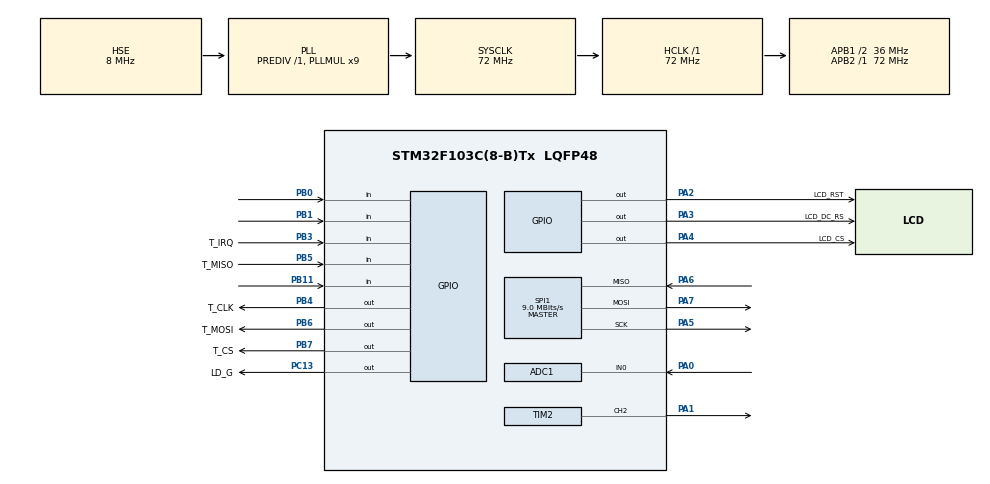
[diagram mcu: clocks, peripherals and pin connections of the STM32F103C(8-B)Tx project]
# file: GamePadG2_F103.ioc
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ADC1.Channel-1\#ChannelRegularConversion=ADC_CHANNEL_0
ADC1.NbrOfConversion=1
ADC1.NbrOfConversionFlag=1
ADC1.Rank-1\#ChannelRegularConversion=1
ADC1.SamplingTime-1\#ChannelRegularConversion=ADC_SAMPLETIME_1CYCLE_5
ADC1.master=1
Mcu.Family=STM32F1
Mcu.Name=STM32F103C(8-B)Tx
Mcu.Package=LQFP48
NVIC.PriorityGroup=NVIC_PRIORITYGROUP_4
PA0-WKUP.Signal=ADCx_IN0
PA1.Signal=S_TIM2_CH2
PA13.Mode=Serial_Wire
PA13.Signal=SYS_JTMS-SWDIO
PA14.Mode=Serial_Wire
PA14.Signal=SYS_JTCK-SWCLK
PA2.GPIO_Label=LCD_RST
PA2.GPIO_ModeDefaultOutputPP=GPIO_MODE_OUTPUT_PP
PA2.GPIO_Speed=GPIO_SPEED_FREQ_HIGH
PA2.Signal=GPIO_Output
PA3.GPIO_Label=LCD_DC_RS
PA3.GPIO_ModeDefaultOutputPP=GPIO_MODE_OUTPUT_PP
PA3.GPIO_Speed=GPIO_SPEED_FREQ_HIGH
PA3.Signal=GPIO_Output
PA4.GPIO_Label=LCD_CS
PA4.GPIO_Speed=GPIO_SPEED_FREQ_HIGH
PA4.PinState=GPIO_PIN_RESET
PA4.Signal=GPIO_Output
PA5.Mode=Full_Duplex_Master
PA5.Signal=SPI1_SCK
PA6.Mode=Full_Duplex_Master
PA6.Signal=SPI1_MISO
PA7.Mode=Full_Duplex_Master
PA7.Signal=SPI1_MOSI
PB0.Signal=GPIO_Input
PB1.Signal=GPIO_Input
PB11.Signal=GPIO_Input
PB3.GPIO_Label=T_IRQ
PB3.Signal=GPIO_Input
PB4.GPIO_Label=T_CLK
PB4.Signal=GPIO_Output
PB5.GPIO_Label=T_MISO
PB5.Signal=GPIO_Input
PB6.GPIO_Label=T_MOSI
PB6.Signal=GPIO_Output
PB7.GPIO_Label=T_CS
PB7.Signal=GPIO_Output
PC13-TAMPER-RTC.GPIO_Label=LD_G
PC13-TAMPER-RTC.GPIO_Speed=GPIO_SPEED_FREQ_HIGH
PC13-TAMPER-RTC.PinState=GPIO_PIN_RESET
PC13-TAMPER-RTC.Signal=GPIO_Output
PD0-OSC_IN.Mode=HSE-External-Oscillator
PD0-OSC_IN.Signal=RCC_OSC_IN
PD1-OSC_OUT.Mode=HSE-External-Oscillator
PD1-OSC_OUT.Signal=RCC_OSC_OUT
ProjectManager.HeapSize=0x200
ProjectManager.StackSize=0x400
ProjectManager.TargetToolchain=MDK-ARM V5.32
RCC.ADCPresc=RCC_ADCPCLK2_DIV6
RCC.AHBFreq_Value=72000000
RCC.APB1CLKDivider=RCC_HCLK_DIV2
RCC.APB1Freq_Value=36000000
RCC.APB1TimFreq_Value=72000000
RCC.APB2Freq_Value=72000000
RCC.APB2TimFreq_Value=72000000
RCC.HCLKFreq_Value=72000000
RCC.PLLMUL=RCC_PLL_MUL9
RCC.PLLSourceVirtual=RCC_PLLSOURCE_HSE
RCC.SYSCLKFreq_VALUE=72000000
RCC.SYSCLKSource=RCC_SYSCLKSOURCE_PLLCLK
RCC.USBFreq_Value=72000000
SH.ADCx_IN0.0=ADC1_IN0,IN0
SH.S_TIM2_CH2.0=TIM2_CH2,PWM Generation2 CH2
SPI1.BaudRatePrescaler=SPI_BAUDRATEPRESCALER_8
SPI1.CalculateBaudRate=9.0 MBits/s
SPI1.Direction=SPI_DIRECTION_2LINES
SPI1.Mode=SPI_MODE_MASTER
SPI1.VirtualType=VM_MASTER
TIM1.Prescaler=10000
TIM2.Channel-PWM\ Generation2\ CH2=TIM_CHANNEL_2
TIM2.Period=100
TIM2.Pulse-PWM\ Generation2\ CH2=80
VP_TIM1_VS_ClockSourceINT.Mode=Internal
board=custom

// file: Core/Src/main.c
/* USER CODE BEGIN Header */
/**
  ******************************************************************************
  * @file           : main.c
  * @brief          : Main program body
  ******************************************************************************
  * @attention
  *
  * Copyright (c) 2023 STMicroelectronics.
  * All rights reserved.
  *
  * This software is licensed under terms that can be found in the LICENSE file
  * in the root directory of this software component.
  * If no LICENSE file comes with this software, it is provided AS-IS.
  *
  ******************************************************************************
  */
/* USER CODE END Header */
#include "main.h"
#include "adc.h"
#include "spi.h"
#include "tim.h"
#include "gpio.h"

/* USER CODE BEGIN Includes */
/* vim: set ai et ts=4 sw=4: */
#include <string.h>
#include <stdarg.h>
#include ".\ILI9341\ILI9341_Touchscreen.h"

#include ".\ILI9341\ILI9341_STM32_Driver.h"
#include ".\ILI9341\ILI9341_GFX.h"
		void make_rect(s,c,w,h){
			for(int x=0;x<=s;){
			  for(int y=0;y<=c;){
				ILI9341_Draw_Pixel(x+w,y+h ,RED);
				y++;
				}
				x++;
			}
		}
//#include ".\ILI9341\snow_tiger.h"
/* USER CODE END Includes */

/* USER CODE BEGIN PV */
/* Private variables ---------------------------------------------------------*/

/* USER CODE END PV */

void SystemClock_Config(void);
/* USER CODE BEGIN PFP */
/* Private function prototypes -----------------------------------------------*/

/* USER CODE END PFP */

/* USER CODE BEGIN 0 */

//void UART_Printf(const char* fmt, ...) {
////    char buff[256];
////    va_list args;
////    va_start(args, fmt);
////    vsnprintf(buff, sizeof(buff), fmt, args);
////    HAL_UART_Transmit(&huart2, (uint8_t*)buff, strlen(buff),
////                      HAL_MAX_DELAY);
////    va_end(args);
//}

//void init() {
//    ILI9341_Unselect();
//    ILI9341_TouchUnselect();
//    ILI9341_Init();
//}

//void loop() {
//    if(HAL_SPI_DeInit(&hspi1) != HAL_OK) {
//        //UART_Printf("HAL_SPI_DeInit failed!\r\n");
//        return;
//    }

//    hspi1.Init.BaudRatePrescaler = SPI_BAUDRATEPRESCALER_2;

//    if(HAL_SPI_Init(&hspi1) != HAL_OK) {
//        //UART_Printf("HAL_SPI_Init failed!\r\n");
//        return;
//    }

//    // Check border
//    ILI9341_FillScreen(ILI9341_BLACK);

//    for(int x = 0; x < ILI9341_WIDTH; x++) {
//        ILI9341_DrawPixel(x, 0, ILI9341_RED);
//        ILI9341_DrawPixel(x, ILI9341_HEIGHT-1, ILI9341_RED);
//    }

//    for(int y = 0; y < ILI9341_HEIGHT; y++) {
//        ILI9341_DrawPixel(0, y, ILI9341_RED);
//        ILI9341_DrawPixel(ILI9341_WIDTH-1, y, ILI9341_RED);
//    }

//    HAL_Delay(3000);

//    // Check fonts
//    ILI9341_FillScreen(ILI9341_BLACK);
//    ILI9341_WriteString(0, 0, "Font_7x10, red on black, lorem ipsum dolor sit amet", Font_7x10, ILI9341_RED, ILI9341_BLACK);
//    ILI9341_WriteString(0, 3*10, "Font_11x18, green, lorem ipsum dolor sit amet", Font_11x18, ILI9341_GREEN, ILI9341_BLACK);
//    ILI9341_WriteString(0, 3*10+3*18, "Font_16x26, blue, lorem ipsum dolor sit amet", Font_16x26, ILI9341_BLUE, ILI9341_BLACK);

//    HAL_Delay(1000);
//    ILI9341_InvertColors(true);
//    HAL_Delay(1000);
//    ILI9341_InvertColors(false);

//    HAL_Delay(5000);

//    // Check colors
//    ILI9341_FillScreen(ILI9341_WHITE);
//    ILI9341_WriteString(0, 0, "WHITE", Font_11x18, ILI9341_BLACK, ILI9341_WHITE);
//    HAL_Delay(500);

//    ILI9341_FillScreen(ILI9341_BLUE);
//    ILI9341_WriteString(0, 0, "BLUE", Font_11x18, ILI9341_BLACK, ILI9341_BLUE);
//    HAL_Delay(500);

//    ILI9341_FillScreen(ILI9341_RED);
//    ILI9341_WriteString(0, 0, "RED", Font_11x18, ILI9341_BLACK, ILI9341_RED);
//    HAL_Delay(500);

//    ILI9341_FillScreen(ILI9341_GREEN);
//    ILI9341_WriteString(0, 0, "GREEN", Font_11x18, ILI9341_BLACK, ILI9341_GREEN);
//    HAL_Delay(500);

//    ILI9341_FillScreen(ILI9341_CYAN);
//    ILI9341_WriteString(0, 0, "CYAN", Font_11x18, ILI9341_BLACK, ILI9341_CYAN);
//    HAL_Delay(500);

//    ILI9341_FillScreen(ILI9341_MAGENTA);
//    ILI9341_WriteString(0, 0, "MAGENTA", Font_11x18, ILI9341_BLACK, ILI9341_MAGENTA);
//    HAL_Delay(500);

//    ILI9341_FillScreen(ILI9341_YELLOW);
//    ILI9341_WriteString(0, 0, "YELLOW", Font_11x18, ILI9341_BLACK, ILI9341_YELLOW);
//    HAL_Delay(500);

//    ILI9341_FillScreen(ILI9341_BLACK);
//    ILI9341_WriteString(0, 0, "BLACK", Font_11x18, ILI9341_WHITE, ILI9341_BLACK);
//    HAL_Delay(500);

//    //ILI9341_DrawImage((ILI9341_WIDTH - 240) / 2, (ILI9341_HEIGHT - 240) / 2, 240, 240, (const uint16_t*)test_img_240x240);

//    HAL_Delay(3000);

//    ILI9341_FillScreen(ILI9341_BLACK);
//    ILI9341_WriteString(0, 0, "Touchpad test.  Draw something!", Font_11x18, ILI9341_WHITE, ILI9341_BLACK);
//    HAL_Delay(1000);
//    ILI9341_FillScreen(ILI9341_BLACK);

//    if(HAL_SPI_DeInit(&hspi1) != HAL_OK) {
//        //UART_Printf("HAL_SPI_DeInit failed!\r\n");
//        return;
//    }

//    hspi1.Init.BaudRatePrescaler = SPI_BAUDRATEPRESCALER_128;

//    if(HAL_SPI_Init(&hspi1) != HAL_OK) {
//        //UART_Printf("HAL_SPI_Init failed!\r\n");
//        return;
//    }

//    int npoints = 0;
//    while(npoints < 10000) {
//        uint16_t x, y;

//        if(ILI9341_TouchGetCoordinates(&x, &y)) {
//            ILI9341_DrawPixel(x, 320-y, ILI9341_WHITE);
//            npoints++;
//        }
//    }
//}

/* USER CODE END 0 */

int main(void)
{
  /* USER CODE BEGIN 1 */
	int random_number = 0;

  /* USER CODE END 1 */

  /* MCU Configuration--------------------------------------------------------*/

  /* Reset of all peripherals, Initializes the Flash interface and the Systick. */
  HAL_Init();

  /* Configure the system clock */
  SystemClock_Config();

  /* Initialize all configured peripherals */
  MX_GPIO_Init();
  MX_SPI1_Init();
  MX_TIM2_Init();
  MX_TIM1_Init();
  MX_ADC1_Init();

  /* Infinite loop */
  /* USER CODE BEGIN WHILE */
	HAL_TIM_PWM_Start(&htim2, TIM_CHANNEL_2);
	HAL_ADC_Start(&hadc1);

	ILI9341_Init();//initial driver setup to drive ili9341
  ILI9341_Set_Rotation(SCREEN_VERTICAL_1);
	ILI9341_Fill_Screen(BLACK);

while (1)
  {
    /* USER CODE END WHILE */

    /* USER CODE BEGIN 3 */
		ILI9341_Set_Rotation(SCREEN_VERTICAL_1);

		HAL_ADC_Start(&hadc1);
		while(HAL_ADC_PollForConversion(&hadc1, 500) != HAL_OK);
		random_number = HAL_ADC_GetValue(&hadc1);

    ILI9341_Draw_Text("pashn", 10, 80, RED, 4, BLACK);
		ILI9341_Draw_Text("fr00t", 140, 80, BLUE, 4, BLACK);

		//make_circle(random_number,random_number);
		HAL_Delay(200);
		ILI9341_Fill_Screen(BLACK);

	}

	{
		ILI9341_Set_Rotation(SCREEN_VERTICAL_1);
		ILI9341_Draw_Text("FPS TEST, 40 loop 2 screens", 10, 10, BLACK, 1, WHITE);
		HAL_Delay(2000);
		ILI9341_Fill_Screen(WHITE);

		uint32_t Timer_Counter = 0;
		for(uint32_t j = 0; j < 2; j++)
		{
			HAL_TIM_Base_Start(&htim1);
			for(uint16_t i = 0; i < 10; i++)
			{
				ILI9341_Fill_Screen(WHITE);
				ILI9341_Fill_Screen(BLACK);
			}

			//20.000 per second!
			HAL_TIM_Base_Stop(&htim1);
			Timer_Counter += __HAL_TIM_GET_COUNTER(&htim1);
			__HAL_TIM_SET_COUNTER(&htim1, 0);
		}
		Timer_Counter /= 2;

		char counter_buff[30];
		ILI9341_Fill_Screen(WHITE);
		ILI9341_Set_Rotation(SCREEN_HORIZONTAL_2);
		//sprintf(counter_buff, "Timer counter value: %d", Timer_Counter*2);
		ILI9341_Draw_Text(counter_buff, 10, 10, BLACK, 1, WHITE);

		double seconds_passed = 2*((float)Timer_Counter / 20000);
		//sprintf(counter_buff, "Time: %.3f Sec", seconds_passed);
		ILI9341_Draw_Text(counter_buff, 10, 30, BLACK, 2, WHITE);

		double timer_float = 20/(((float)Timer_Counter)/20000);	//Frames per sec

		//sprintf(counter_buff, "FPS:  %.2f", timer_float);
		ILI9341_Draw_Text(counter_buff, 10, 50, BLACK, 2, WHITE);
		double MB_PS = timer_float*240*320*2/1000000;
		//sprintf(counter_buff, "MB/S: %.2f", MB_PS);
		ILI9341_Draw_Text(counter_buff, 10, 70, BLACK, 2, WHITE);
		double SPI_utilized_percentage = (MB_PS/(6.25 ))*100;		//50mbits / 8 bits
		//sprintf(counter_buff, "SPI Utilized: %.2f", SPI_utilized_percentage);
		ILI9341_Draw_Text(counter_buff, 10, 90, BLACK, 2, WHITE);
		HAL_Delay(10000);

		static uint16_t x = 0;
		static uint16_t y = 0;

		char Temp_Buffer_text[40];

//----------------------------------------------------------COUNTING MULTIPLE SEGMENTS
		ILI9341_Fill_Screen(WHITE);
		ILI9341_Set_Rotation(SCREEN_HORIZONTAL_2);
		ILI9341_Draw_Text("Counting multiple segments at once", 10, 10, BLACK, 1, WHITE);
		HAL_Delay(2000);
		ILI9341_Fill_Screen(WHITE);

		for(uint16_t i = 0; i <= 10; i++)
		{
		//sprintf(Temp_Buffer_text, "Counting: %d", i);
		ILI9341_Draw_Text(Temp_Buffer_text, 10, 10, BLACK, 2, WHITE);
		ILI9341_Draw_Text(Temp_Buffer_text, 10, 30, BLUE, 2, WHITE);
		ILI9341_Draw_Text(Temp_Buffer_text, 10, 50, RED, 2, WHITE);
		ILI9341_Draw_Text(Temp_Buffer_text, 10, 70, GREEN, 2, WHITE);
		ILI9341_Draw_Text(Temp_Buffer_text, 10, 90, BLACK, 2, WHITE);
		ILI9341_Draw_Text(Temp_Buffer_text, 10, 110, BLUE, 2, WHITE);
		ILI9341_Draw_Text(Temp_Buffer_text, 10, 130, RED, 2, WHITE);
		ILI9341_Draw_Text(Temp_Buffer_text, 10, 150, GREEN, 2, WHITE);
		ILI9341_Draw_Text(Temp_Buffer_text, 10, 170, WHITE, 2, BLACK);
		ILI9341_Draw_Text(Temp_Buffer_text, 10, 190, BLUE, 2, BLACK);
		ILI9341_Draw_Text(Temp_Buffer_text, 10, 210, RED, 2, BLACK);
		}

		HAL_Delay(1000);

//----------------------------------------------------------COUNTING SINGLE SEGMENT
		ILI9341_Fill_Screen(WHITE);
		ILI9341_Set_Rotation(SCREEN_HORIZONTAL_2);
		ILI9341_Draw_Text("Counting single segment", 10, 10, BLACK, 1, WHITE);
		HAL_Delay(2000);
		ILI9341_Fill_Screen(WHITE);

		for(uint16_t i = 0; i <= 100; i++)
		{
		//sprintf(Temp_Buffer_text, "Counting: %d", i);
		ILI9341_Draw_Text(Temp_Buffer_text, 10, 10, BLACK, 3, WHITE);
		}

		HAL_Delay(1000);

//----------------------------------------------------------ALIGNMENT TEST
		ILI9341_Fill_Screen(WHITE);
		ILI9341_Set_Rotation(SCREEN_HORIZONTAL_2);
		ILI9341_Draw_Text("Rectangle alignment check", 10, 10, BLACK, 1, WHITE);
		HAL_Delay(2000);
		ILI9341_Fill_Screen(WHITE);

		ILI9341_Draw_Hollow_Rectangle_Coord(50, 50, 100, 100, BLACK);
		ILI9341_Draw_Filled_Rectangle_Coord(20, 20, 50, 50, BLACK);
		ILI9341_Draw_Hollow_Rectangle_Coord(10, 10, 19, 19, BLACK);
		HAL_Delay(1000);

//----------------------------------------------------------LINES EXAMPLE
		ILI9341_Fill_Screen(WHITE);
		ILI9341_Set_Rotation(SCREEN_HORIZONTAL_2);
		ILI9341_Draw_Text("Randomly placed and sized", 10, 10, BLACK, 1, WHITE);
		ILI9341_Draw_Text("Horizontal and Vertical lines", 10, 20, BLACK, 1, WHITE);
		HAL_Delay(2000);
		ILI9341_Fill_Screen(WHITE);

//		for(uint32_t i = 0; i < 30000; i++)
//		{
//			uint32_t random_num = 0;
//			uint16_t xr = 0;
//			uint16_t yr = 0;
//			uint16_t radiusr = 0;
//			uint16_t colourr = 0;
//			random_num = HAL_RNG_GetRandomNumber(&hrng);
//			xr = random_num;
//			random_num = HAL_RNG_GetRandomNumber(&hrng);
//			yr = random_num;
//			random_num = HAL_RNG_GetRandomNumber(&hrng);
//			radiusr = random_num;
//			random_num = HAL_RNG_GetRandomNumber(&hrng);
//			colourr = random_num;
//
//			xr &= 0x01FF;
//			yr &= 0x01FF;
//			radiusr &= 0x001F;
//			//ili9341_drawpixel(xr, yr, WHITE);
//			ILI9341_Draw_Horizontal_Line(xr, yr, radiusr, colourr);
//			ILI9341_Draw_Vertical_Line(xr, yr, radiusr, colourr);
//		}

		HAL_Delay(1000);

//----------------------------------------------------------HOLLOW CIRCLES EXAMPLE
		ILI9341_Fill_Screen(WHITE);
		ILI9341_Set_Rotation(SCREEN_HORIZONTAL_2);
		ILI9341_Draw_Text("Randomly placed and sized", 10, 10, BLACK, 1, WHITE);
		ILI9341_Draw_Text("Circles", 10, 20, BLACK, 1, WHITE);
		HAL_Delay(2000);
		ILI9341_Fill_Screen(WHITE);

//		for(uint32_t i = 0; i < 3000; i++)
//		{
//			uint32_t random_num = 0;
//			uint16_t xr = 0;
//			uint16_t yr = 0;
//			uint16_t radiusr = 0;
//			uint16_t colourr = 0;
//			random_num = HAL_RNG_GetRandomNumber(&hrng);
//			xr = random_num;
//			random_num = HAL_RNG_GetRandomNumber(&hrng);
//			yr = random_num;
//			random_num = HAL_RNG_GetRandomNumber(&hrng);
//			radiusr = random_num;
//			random_num = HAL_RNG_GetRandomNumber(&hrng);
//			colourr = random_num;
//
//			xr &= 0x01FF;
//			yr &= 0x01FF;
//			radiusr &= 0x001F;
//			//ili9341_drawpixel(xr, yr, WHITE);
//			ILI9341_Draw_Hollow_Circle(xr, yr, radiusr*2, colourr);
//		}
		HAL_Delay(1000);

//----------------------------------------------------------FILLED CIRCLES EXAMPLE
		ILI9341_Fill_Screen(WHITE);
		ILI9341_Set_Rotation(SCREEN_HORIZONTAL_2);
		ILI9341_Draw_Text("Randomly placed and sized", 10, 10, BLACK, 1, WHITE);
		ILI9341_Draw_Text("Filled Circles", 10, 20, BLACK, 1, WHITE);
		HAL_Delay(2000);
		ILI9341_Fill_Screen(WHITE);

//		for(uint32_t i = 0; i < 1000; i++)
//		{
//			uint32_t random_num = 0;
//			uint16_t xr = 0;
//			uint16_t yr = 0;
//			uint16_t radiusr = 0;
//			uint16_t colourr = 0;
//			random_num = HAL_RNG_GetRandomNumber(&hrng);
//			xr = random_num;
//			random_num = HAL_RNG_GetRandomNumber(&hrng);
//			yr = random_num;
//			random_num = HAL_RNG_GetRandomNumber(&hrng);
//			radiusr = random_num;
//			random_num = HAL_RNG_GetRandomNumber(&hrng);
//			colourr = random_num;
//
//			xr &= 0x01FF;
//			yr &= 0x01FF;
//			radiusr &= 0x001F;
//			//ili9341_drawpixel(xr, yr, WHITE);
//			ILI9341_Draw_Filled_Circle(xr, yr, radiusr/2, colourr);
//		}
		HAL_Delay(1000);

//----------------------------------------------------------HOLLOW RECTANGLES EXAMPLE
		ILI9341_Fill_Screen(WHITE);
		ILI9341_Set_Rotation(SCREEN_HORIZONTAL_2);
		ILI9341_Draw_Text("Randomly placed and sized", 10, 10, BLACK, 1, WHITE);
		ILI9341_Draw_Text("Rectangles", 10, 20, BLACK, 1, WHITE);
		HAL_Delay(2000);
		ILI9341_Fill_Screen(WHITE);

//		for(uint32_t i = 0; i < 20000; i++)
//		{
//			uint32_t random_num = 0;
//			uint16_t xr = 0;
//			uint16_t yr = 0;
//			uint16_t radiusr = 0;
//			uint16_t colourr = 0;
//			random_num = HAL_RNG_GetRandomNumber(&hrng);
//			xr = random_num;
//			random_num = HAL_RNG_GetRandomNumber(&hrng);
//			yr = random_num;
//			random_num = HAL_RNG_GetRandomNumber(&hrng);
//			radiusr = random_num;
//			random_num = HAL_RNG_GetRandomNumber(&hrng);
//			colourr = random_num;
//
//			xr &= 0x01FF;
//			yr &= 0x01FF;
//			radiusr &= 0x001F;
//			//ili9341_drawpixel(xr, yr, WHITE);
//			ILI9341_Draw_Hollow_Rectangle_Coord(xr, yr, xr+radiusr, yr+radiusr, colourr);
//		}
		HAL_Delay(1000);

//----------------------------------------------------------FILLED RECTANGLES EXAMPLE
		ILI9341_Fill_Screen(WHITE);
		ILI9341_Set_Rotation(SCREEN_HORIZONTAL_2);
		ILI9341_Draw_Text("Randomly placed and sized", 10, 10, BLACK, 1, WHITE);
		ILI9341_Draw_Text("Filled Rectangles", 10, 20, BLACK, 1, WHITE);
		HAL_Delay(2000);
		ILI9341_Fill_Screen(WHITE);

//		for(uint32_t i = 0; i < 20000; i++)
//		{
//			uint32_t random_num = 0;
//			uint16_t xr = 0;
//			uint16_t yr = 0;
//			uint16_t radiusr = 0;
//			uint16_t colourr = 0;
//			random_num = HAL_RNG_GetRandomNumber(&hrng);
//			xr = random_num;
//			random_num = HAL_RNG_GetRandomNumber(&hrng);
//			yr = random_num;
//			random_num = HAL_RNG_GetRandomNumber(&hrng);
//			radiusr = random_num;
//			random_num = HAL_RNG_GetRandomNumber(&hrng);
//			colourr = random_num;
//
//			xr &= 0x01FF;
//			yr &= 0x01FF;
//			radiusr &= 0x001F;
//			//ili9341_drawpixel(xr, yr, WHITE);
//			ILI9341_Draw_Rectangle(xr, yr, radiusr, radiusr, colourr);
//		}
		HAL_Delay(1000);

//----------------------------------------------------------INDIVIDUAL PIXEL EXAMPLE

		ILI9341_Fill_Screen(WHITE);
		ILI9341_Set_Rotation(SCREEN_HORIZONTAL_2);
		ILI9341_Draw_Text("Slow draw by selecting", 10, 10, BLACK, 1, WHITE);
		ILI9341_Draw_Text("and adressing pixels", 10, 20, BLACK, 1, WHITE);
		HAL_Delay(2000);
		ILI9341_Fill_Screen(WHITE);

//----------------------------------------------------------INDIVIDUAL PIXEL EXAMPLE
		ILI9341_Fill_Screen(WHITE);
		ILI9341_Set_Rotation(SCREEN_HORIZONTAL_2);
		ILI9341_Draw_Text("Random position and colour", 10, 10, BLACK, 1, WHITE);
		ILI9341_Draw_Text("500000 pixels", 10, 20, BLACK, 1, WHITE);
		HAL_Delay(2000);
		ILI9341_Fill_Screen(WHITE);

//		for(uint32_t i = 0; i < 500000; i++)
//		{
//			uint32_t random_num = 0;
//			uint16_t xr = 0;
//			uint16_t yr = 0;
//			random_num = HAL_RNG_GetRandomNumber(&hrng);
//			xr = random_num;
//			random_num = HAL_RNG_GetRandomNumber(&hrng);
//			yr = random_num;
//			uint16_t color = HAL_RNG_GetRandomNumber(&hrng);
//
//			xr &= 0x01FF;
//			yr &= 0x01FF;
//			ILI9341_Draw_Pixel(xr, yr, color);
//		}
		HAL_Delay(2000);

//----------------------------------------------------------565 COLOUR EXAMPLE, Grayscale
		ILI9341_Fill_Screen(WHITE);
		ILI9341_Set_Rotation(SCREEN_HORIZONTAL_2);
		ILI9341_Draw_Text("Colour gradient", 10, 10, BLACK, 1, WHITE);
		ILI9341_Draw_Text("Grayscale", 10, 20, BLACK, 1, WHITE);
		HAL_Delay(2000);

		for(uint16_t i = 0; i <= (320); i++)
		{
			uint16_t Red = 0;
			uint16_t Green = 0;
			uint16_t Blue = 0;

			Red = i/(10);
			Red <<= 11;
			Green = i/(5);
			Green <<= 5;
			Blue = i/(10);

			uint16_t RGB_color = Red + Green + Blue;
			ILI9341_Draw_Rectangle(i, x, 1, 240, RGB_color);

		}
		HAL_Delay(2000);

//----------------------------------------------------------IMAGE EXAMPLE, Snow Tiger
		ILI9341_Fill_Screen(WHITE);
		ILI9341_Set_Rotation(SCREEN_HORIZONTAL_2);
		ILI9341_Draw_Text("RGB Picture", 10, 10, BLACK, 1, WHITE);
		ILI9341_Draw_Text("TIGER", 10, 20, BLACK, 1, WHITE);
		HAL_Delay(2000);
//		ILI9341_Draw_Image((const char*)snow_tiger, SCREEN_VERTICAL_2);
		ILI9341_Set_Rotation(SCREEN_VERTICAL_1);
		HAL_Delay(10000);

		HAL_Delay(2000);
//----------------------------------------------------------TOUCHSCREEN EXAMPLE
		ILI9341_Fill_Screen(WHITE);
		ILI9341_Set_Rotation(SCREEN_HORIZONTAL_2);
		ILI9341_Draw_Text("Touchscreen", 10, 10, BLACK, 2, WHITE);
		ILI9341_Draw_Text("Touch to draw", 10, 30, BLACK, 2, WHITE);
		ILI9341_Set_Rotation(SCREEN_VERTICAL_1);

		while(1)
		{

			if(TP_Touchpad_Pressed())
        {

					uint16_t x_pos = 0;
					uint16_t y_pos = 0;

					HAL_GPIO_WritePin(GPIOB, LD_G_Pin, GPIO_PIN_SET);

          uint16_t position_array[2];

					if(TP_Read_Coordinates(position_array) == TOUCHPAD_DATA_OK)
					{
					x_pos = position_array[0];
					y_pos = position_array[1];
					ILI9341_Draw_Filled_Circle(x_pos, y_pos, 2, BLACK);

					ILI9341_Set_Rotation(SCREEN_HORIZONTAL_2);
					char counter_buff[30];
					//sprintf(counter_buff, "POS X: %.3d", x_pos);
					ILI9341_Draw_Text(counter_buff, 10, 80, BLACK, 2, WHITE);
					//sprintf(counter_buff, "POS Y: %.3d", y_pos);
					ILI9341_Draw_Text(counter_buff, 10, 120, BLACK, 2, WHITE);
					ILI9341_Set_Rotation(SCREEN_VERTICAL_1);
					}

					//ILI9341_Draw_Pixel(x_pos, y_pos, BLACK);

        }
			else
			{
				HAL_GPIO_WritePin(GPIOB, LD_G_Pin, GPIO_PIN_RESET);
			}

		}
  }
  /* USER CODE END 3 */
}

void SystemClock_Config(void)
{
  RCC_OscInitTypeDef RCC_OscInitStruct = {0};
  RCC_ClkInitTypeDef RCC_ClkInitStruct = {0};
  RCC_PeriphCLKInitTypeDef PeriphClkInit = {0};

  /** Initializes the RCC Oscillators according to the specified parameters
  * in the RCC_OscInitTypeDef structure.
  */
  RCC_OscInitStruct.OscillatorType = RCC_OSCILLATORTYPE_HSE;
  RCC_OscInitStruct.HSEState = RCC_HSE_ON;
  RCC_OscInitStruct.HSEPredivValue = RCC_HSE_PREDIV_DIV1;
  RCC_OscInitStruct.HSIState = RCC_HSI_ON;
  RCC_OscInitStruct.PLL.PLLState = RCC_PLL_ON;
  RCC_OscInitStruct.PLL.PLLSource = RCC_PLLSOURCE_HSE;
  RCC_OscInitStruct.PLL.PLLMUL = RCC_PLL_MUL9;
  if (HAL_RCC_OscConfig(&RCC_OscInitStruct) != HAL_OK)
  {
    Error_Handler();
  }

  /** Initializes the CPU, AHB and APB buses clocks
  */
  RCC_ClkInitStruct.ClockType = RCC_CLOCKTYPE_HCLK|RCC_CLOCKTYPE_SYSCLK
                              |RCC_CLOCKTYPE_PCLK1|RCC_CLOCKTYPE_PCLK2;
  RCC_ClkInitStruct.SYSCLKSource = RCC_SYSCLKSOURCE_PLLCLK;
  RCC_ClkInitStruct.AHBCLKDivider = RCC_SYSCLK_DIV1;
  RCC_ClkInitStruct.APB1CLKDivider = RCC_HCLK_DIV2;
  RCC_ClkInitStruct.APB2CLKDivider = RCC_HCLK_DIV1;

  if (HAL_RCC_ClockConfig(&RCC_ClkInitStruct, FLASH_LATENCY_2) != HAL_OK)
  {
    Error_Handler();
  }
  PeriphClkInit.PeriphClockSelection = RCC_PERIPHCLK_ADC;
  PeriphClkInit.AdcClockSelection = RCC_ADCPCLK2_DIV6;
  if (HAL_RCCEx_PeriphCLKConfig(&PeriphClkInit) != HAL_OK)
  {
    Error_Handler();
  }
}

void Error_Handler(void)
{
  while(1)
  {
  }
}
